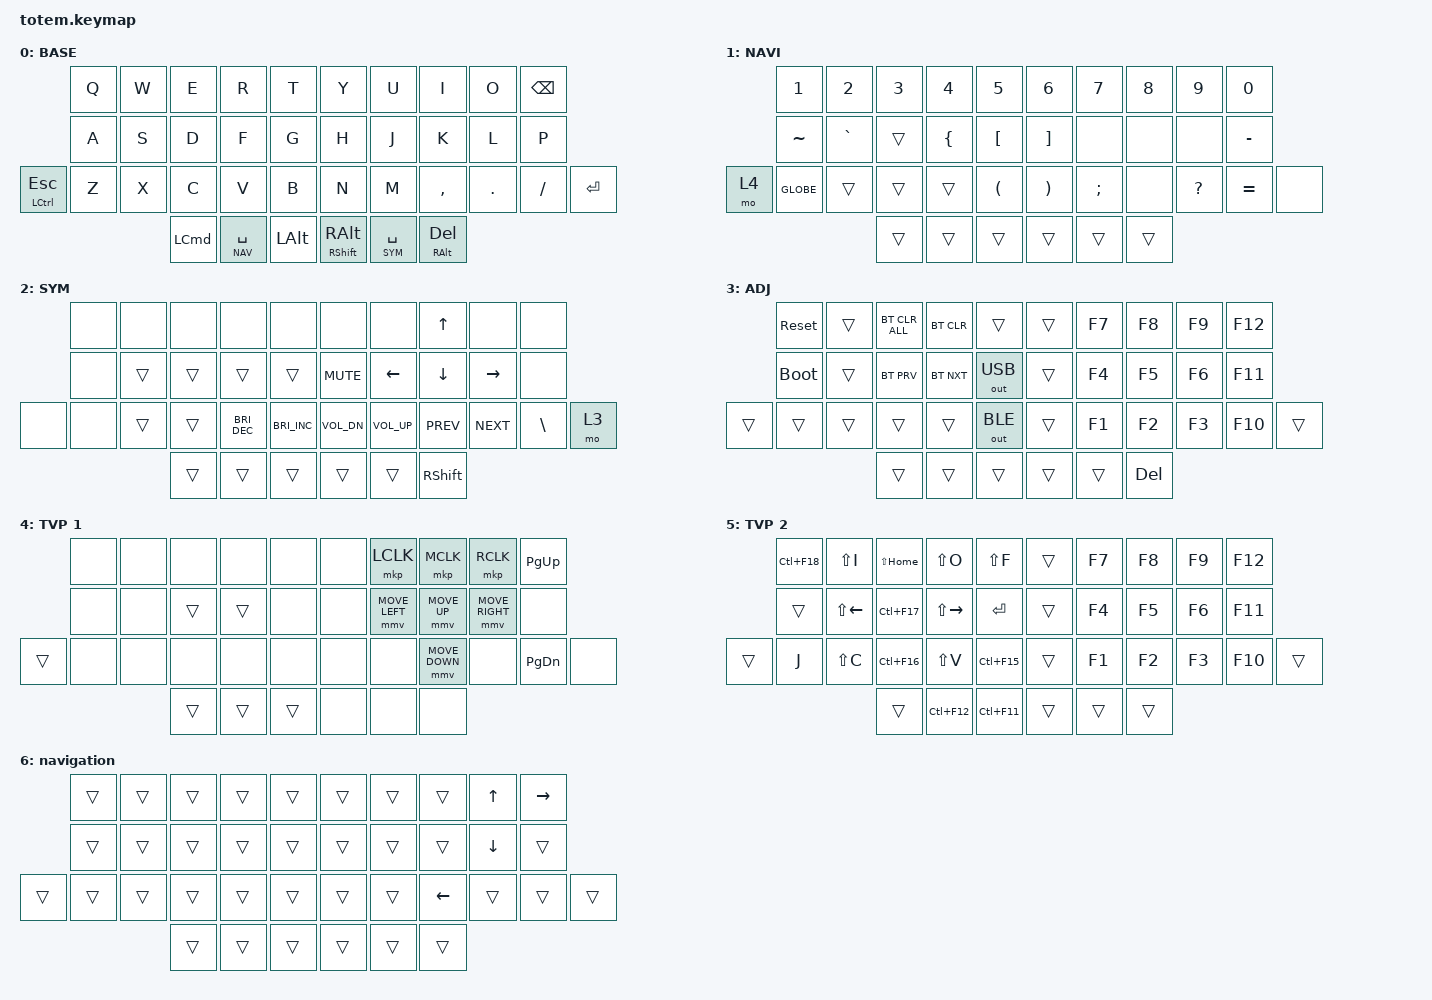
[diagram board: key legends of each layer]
//
//                                                        ▀▀▀▀▀     ▀▀▀▀▀          ▀▀█▀▀
//                                                        ▄▀▀▀▄  ▄  ▄▀▀▀▄  ▄  ▄▀▀▀▄  █  ▄▀▀▀▄
//                                                        █   █  █  █   █  █  █   █  █  █   █
//                                                         ▀▀▀   █   ▀▀▀   █   ▀▀▀   ▀   ▀▀▀
//                                                               █      ▄▄▄█▄▄▄    █   █  
//                                                               ▀      █  █  █     █▄█
//                                                             ▀▀▀▀▀    █  █  █      ▀
//                                                                      ▀  ▀  ▀
//
// ▄▄▄▄▄▄▄▄▄▄▄▄▄▄▄▄▄▄▄▄▄▄▄▄▄▄▄▄▄▄▄▄▄▄▄▄▄▄▄▄▄▄▄▄▄▄▄▄▄▄▄▄▄▄▄▄▄▄▄▄▄▄▄▄▄▄▄▄▄▄▄▄▄▄▄▄▄▄▄▄▄▄▄▄▄▄▄▄▄▄▄▄▄▄▄▄▄▄▄▄▄▄▄▄▄▄▄▄▄▄▄▄▄▄▄▄▄▄▄▄▄▄▄▄▄▄▄▄▄▄▄▄▄▄▄▄▄▄▄▄▄▄▄▄▄▄▄▄▄

#include <behaviors.dtsi>
#include <dt-bindings/zmk/bt.h>
#include <dt-bindings/zmk/keys.h>
#include <dt-bindings/zmk/outputs.h>
#include <dt-bindings/zmk/pointing.h>

#define BASE 0
#define NAV  1
#define SYM  2
#define ADJ  3
#define TVP1 4
#define TVP2 5

&mt {
    quick-tap-ms = <150>;
    global-quick-tap;
    flavor = "tap-preferred";
    tapping-term-ms = <170>;
};

/ {
    combos {
        compatible = "zmk,combos";

        combo_esc {
            timeout-ms = <60>;
            key-positions = <11 12>;
            bindings = <&kp TAB>;
            require-prior-idle-ms = <120>;
        };

        dash {
            bindings = <&kp MINUS>;
            key-positions = <9 8>;
            timeout-ms = <70>;
        };

        tilde_combo {
            bindings = <&kp TILDE>;
            key-positions = <0 1>;
            timeout-ms = <60>;
            require-prior-idle-ms = <100>;
        };

        Shift+tab {
            bindings = <&kp LS(TAB)>;
            key-positions = <12 13>;
        };

        Left-shift {
            bindings = <&kp LEFT_SHIFT>;
            key-positions = <20 34>;
        };

        ctrl+1 {
            bindings = <&kp LC(NUMBER_1)>;
            key-positions = <20 0>;
        };

        ctrl+2 {
            bindings = <&kp LC(NUMBER_2)>;
            key-positions = <20 1>;
        };

        ctrl+3 {
            bindings = <&kp LC(NUMBER_3)>;
            key-positions = <20 2>;
        };

        ctrl+4 {
            bindings = <&kp LC(NUMBER_4)>;
            key-positions = <20 3>;
        };

        ctrl+5 {
            bindings = <&kp LC(NUMBER_5)>;
            key-positions = <20 4>;
        };

        ctrl-sh-1 {
            bindings = <&kp LC(LS(NUMBER_1))>;
            key-positions = <20 0 34>;
        };

        ctrl-sh-2 {
            bindings = <&kp LC(LS(NUMBER_2))>;
            key-positions = <20 1 34>;
        };

        ctrl-sh-3 {
            bindings = <&kp LC(LS(NUMBER_3))>;
            key-positions = <20 2 34>;
        };

        ctrl-sh-4 {
            bindings = <&kp LC(LS(NUMBER_4))>;
            key-positions = <20 3 34>;
        };

        ctrl-sh-5 {
            bindings = <&kp LC(LS(NUMBER_5))>;
            key-positions = <20 4 34>;
        };

        ctl.cmd.1 {
            bindings = <&kp LC(LG(NUMBER_1))>;
            key-positions = <20 0 32>;
        };

        ctrl.cmd.2 {
            bindings = <&kp LC(LG(NUMBER_2))>;
            key-positions = <20 32 1>;
        };

        ctrl.cmd.3 {
            bindings = <&kp LC(LG(NUMBER_3))>;
            key-positions = <20 32 2>;
        };

        ctrl.cmd.4 {
            bindings = <&kp LC(LG(NUMBER_4))>;
            key-positions = <20 32 3>;
        };

        ctrl.cmd.5 {
            bindings = <&kp LC(LG(NUMBER_5))>;
            key-positions = <20 32 4>;
        };

        tmp.screenshot.mac {
            bindings = <&kp LG(LS(NUMBER_4))>;
            key-positions = <32 3 11>;
        };

        save.screenshot.mac {
            bindings = <&kp LG(LS(LA(NUMBER_4)))>;
            key-positions = <32 3 11 12>;
        };

        mac.copy {
            bindings = <&kp LG(C)>;
            key-positions = <32 24>;
        };

        mac.paste {
            bindings = <&kp LG(V)>;
            key-positions = <32 25>;
        };
    };

    behaviors {
        mt_left: mt_left {
            compatible = "zmk,behavior-hold-tap";
            label = "MT_LEFT";
            bindings = <&kp>, <&kp>;

            #binding-cells = <2>;
            tapping-term-ms = <400>;
            quick-tap-ms = <170>;
            flavor = "balanced";
            hold-trigger-key-positions = <26 27 16 15 5 6 7 5 6 7 8 9 15 16 17 18 19 26 27 28 29 31 5 6 7 8 9 15 16 17 18 19 26 27 28 29 30 31 35 36 37 32 33 34>;
            require-prior-idle-ms = <50>;
            hold-trigger-on-release;
        };

        mt_right: mt_right {
            compatible = "zmk,behavior-hold-tap";
            label = "MT_RIGHT";
            bindings = <&kp>, <&kp>;

            #binding-cells = <2>;
            tapping-term-ms = <400>;
            quick-tap-ms = <170>;
            flavor = "balanced";
            require-prior-idle-ms = <50>;
            hold-trigger-on-release;
            hold-trigger-key-positions = <0 1 4 10 11 12 13 14 20 21 22 23 24 25 2 35 36 37 3 32 33 34>;
        };

        mt_thumb: mt_thumb {
            compatible = "zmk,behavior-hold-tap";
            label = "MT_THUMB";
            bindings = <&kp>, <&kp>;

            #binding-cells = <2>;
            quick-tap-ms = <220>;
            flavor = "balanced";
            tapping-term-ms = <100>;
            require-prior-idle-ms = <0>;
        };

        mt_shift_left: mt_shift_left {
            compatible = "zmk,behavior-hold-tap";
            label = "MT_SHIFT_LEFT";
            bindings = <&kp>, <&kp>;

            #binding-cells = <2>;
            tapping-term-ms = <175>;
            quick-tap-ms = <175>;
            flavor = "tap-preferred";
            hold-trigger-key-positions = <19 26 27 29 30 31 36 37 35 36 32 33 34 5 6 7 8 9 15 16 17 18 19 26 27 28 29 31>;
            require-prior-idle-ms = <20>;
        };

        mt_shift_right: mt_shift_right {
            compatible = "zmk,behavior-hold-tap";
            label = "MT_SHIFT_RIGHT";
            bindings = <&kp>, <&kp>;

            #binding-cells = <2>;
            tapping-term-ms = <175>;
            quick-tap-ms = <175>;
            flavor = "tap-preferred";
            hold-trigger-key-positions = <0 1 2 3 4 10 11 12 13 14 20 21 22 23 24 25 32 33 34 35 36 37>;
            require-prior-idle-ms = <20>;
        };

        hold_sticky: hold_sticky {
            compatible = "zmk,behavior-hold-tap";
            label = "HOLD_STICKY";
            bindings = <&kp>, <&sk>;

            #binding-cells = <2>;
            flavor = "hold-preferred";
            tapping-term-ms = <150>;
            quick-tap-ms = <220>;
        };

        mt_all: mt_all {
            compatible = "zmk,behavior-hold-tap";
            label = "MT_ALL";
            bindings = <&kp>, <&kp>;

            #binding-cells = <2>;
            tapping-term-ms = <175>;
            quick-tap-ms = <175>;
            flavor = "balanced";
            require-prior-idle-ms = <35>;
            hold-trigger-on-release;
        };

        copyMAC: copyMAC {
            compatible = "zmk,behavior-tap-dance";
            label = "COPYMAC";
            #binding-cells = <0>;
            bindings = <&kp C>, <&kp LG(C)>;
        };
    };

    keymap {
        compatible = "zmk,keymap";

        // ▄▄▄▄▄▄▄▄▄▄▄▄▄▄▄▄▄▄▄▄▄▄▄▄▄▄▄▄▄▄▄▄▄▄▄▄▄▄▄▄▄▄▄▄▄▄▄▄▄▄▄▄▄▄▄▄▄▄▄▄▄▄▄▄▄▄▄▄▄▄▄▄▄▄▄▄▄▄▄▄▄▄▄▄▄▄▄▄▄▄▄▄▄▄▄▄▄▄▄▄▄▄▄▄▄▄▄▄▄▄▄▄▄▄▄▄▄▄▄▄▄▄▄▄▄▄▄▄▄▄▄▄▄▄▄▄▄▄▄▄▄▄▄▄▄▄▄▄▄

        base_layer {
            // ┏━━━━━━━━━━━━━━━━━━━━━━━━━━━━━━━━━━━━━━━┓

            label = "BASE";

            // ┗━━━━━━━━━━━━━━━━━━━━━━━━━━━━━━━━━━━━━━━┛
            //             ┏━━━━━━━━━━━┳━━━━━━━━━━━┳━━━━━━━━━━━┳━━━━━━━━━━━┳━━━━━━━━━━━┓   ┏━━━━━━━━━━━┳━━━━━━━━━━━┳━━━━━━━━━━━┳━━━━━━━━━━━┳━━━━━━━━━━━┓
            //             ┃     Q     ┃     W     ┃     F     ┃     P     ┃     G     ┃   ┃     J     ┃     L     ┃     U     ┃     Y     ┃     ;     ┃
            //             ┣━━━━━━━━━━━╋━━━━━━━━━━━╋━━━━━━━━━━━╋━━━━━━━━━━━╋━━━━━━━━━━━┫   ┣━━━━━━━━━━━╋━━━━━━━━━━━╋━━━━━━━━━━━╋━━━━━━━━━━━╋━━━━━━━━━━━┫
            //             ┃     A     ┃     R     ┃     S     ┃     T     ┃     D     ┃   ┃     H     ┃     N     ┃     E     ┃     I     ┃     O     ┃
            // ┏━━━━━━━━━━━╋━━━━━━━━━━━╋━━━━━━━━━━━╋━━━━━━━━━━━╋━━━━━━━━━━━╋━━━━━━━━━━━┫   ┣━━━━━━━━━━━╋━━━━━━━━━━━╋━━━━━━━━━━━╋━━━━━━━━━━━╋━━━━━━━━━━━╋━━━━━━━━━━━┓
            // ┃     Q     ┃     Z     ┃     X     ┃     C     ┃     V     ┃     B     ┃   ┃     K     ┃     M     ┃     ,     ┃     .     ┃     /     ┃     \     ┃
            // ┗━━━━━━━━━━━┻━━━━━━━━━━━┻━━━━━━━━━━━╋━━━━━━━━━━━╋━━━━━━━━━━━╋━━━━━━━━━━━┫   ┣━━━━━━━━━━━╋━━━━━━━━━━━╋━━━━━━━━━━━╋━━━━━━━━━━━┻━━━━━━━━━━━┻━━━━━━━━━━━┛
            //                                     ┃    DEL    ┃    TAB    ┃    SPC    ┃   ┃   ENTER   ┃           ┃   BSPC    ┃
            //                                     ┗━━━━━━━━━━━┻━━━━━━━━━━━┻━━━━━━━━━━━┛   ┗━━━━━━━━━━━┻━━━━━━━━━━━┻━━━━━━━━━━━┛

            bindings = <
                             &kp Q  &kp W  &kp E             &kp R          &kp T           &kp Y                          &kp U          &kp I                     &kp O    &kp BACKSPACE
                             &kp A  &kp S  &kp D             &kp F          &kp G           &kp H                          &kp J          &kp K                     &kp L    &kp P
&mt_all LEFT_CONTROL ESCAPE  &kp Z  &kp X  &kp C             &kp V          &kp B           &kp N                          &kp M          &kp COMMA                 &kp DOT  &kp SLASH      &kp ENTER
                                           &kp LEFT_COMMAND  &lt NAV SPACE  &kp LEFT_ALT    &mt_all RIGHT_SHIFT RIGHT_ALT  &lt SYM SPACE  &mt_all RIGHT_ALT DELETE
            >;
        };

        // ▄▄▄▄▄▄▄▄▄▄▄▄▄▄▄▄▄▄▄▄▄▄▄▄▄▄▄▄▄▄▄▄▄▄▄▄▄▄▄▄▄▄▄▄▄▄▄▄▄▄▄▄▄▄▄▄▄▄▄▄▄▄▄▄▄▄▄▄▄▄▄▄▄▄▄▄▄▄▄▄▄▄▄▄▄▄▄▄▄▄▄▄▄▄▄▄▄▄▄▄▄▄▄▄▄▄▄▄▄▄▄▄▄▄▄▄▄▄▄▄▄▄▄▄▄▄▄▄▄▄▄▄▄▄▄▄▄▄▄▄▄▄▄▄▄▄▄▄▄

        nav_layer {
            // ┏━━━━━━━━━━━━━━━━━━━━━━━━━━━━━━━━━━━━━━━┓

            label = "NAVI";

            // ┗━━━━━━━━━━━━━━━━━━━━━━━━━━━━━━━━━━━━━━━┛
            //             ┏━━━━━━━━━━━┳━━━━━━━━━━━┳━━━━━━━━━━━┳━━━━━━━━━━━┳━━━━━━━━━━━┓   ┏━━━━━━━━━━━┳━━━━━━━━━━━┳━━━━━━━━━━━┳━━━━━━━━━━━┳━━━━━━━━━━━┓
            //             ┃           ┃           ┃     UP    ┃           ┃     {     ┃   ┃     }     ┃     7     ┃     8     ┃     9     ┃     +     ┃
            //             ┣━━━━━━━━━━━╋━━━━━━━━━━━╋━━━━━━━━━━━╋━━━━━━━━━━━╋━━━━━━━━━━━┫   ┣━━━━━━━━━━━╋━━━━━━━━━━━╋━━━━━━━━━━━╋━━━━━━━━━━━╋━━━━━━━━━━━┫
            //             ┃   SHIFT   ┃   LEFT    ┃    DOWN   ┃   RIGHT   ┃     [     ┃   ┃     ]     ┃     4     ┃     5     ┃     6     ┃     -     ┃
            // ┏━━━━━━━━━━━╋━━━━━━━━━━━╋━━━━━━━━━━━╋━━━━━━━━━━━╋━━━━━━━━━━━╋━━━━━━━━━━━┫   ┣━━━━━━━━━━━╋━━━━━━━━━━━╋━━━━━━━━━━━╋━━━━━━━━━━━╋━━━━━━━━━━━╋━━━━━━━━━━━┓
            // ┃           ┃           ┃   P UP    ┃  C LOCK   ┃  P DOWN   ┃     (     ┃   ┃     )     ┃     1     ┃     2     ┃     3     ┃     *     ┃           ┃
            // ┗━━━━━━━━━━━┻━━━━━━━━━━━┻━━━━━━━━━━━╋━━━━━━━━━━━╋━━━━━━━━━━━╋━━━━━━━━━━━┫   ┣━━━━━━━━━━━╋━━━━━━━━━━━╋━━━━━━━━━━━╋━━━━━━━━━━━┻━━━━━━━━━━━┻━━━━━━━━━━━┛
            //                                     ┃           ┃    TAB    ┃    SPC    ┃   ┃    DEL    ┃     0     ┃           ┃
            //                                     ┗━━━━━━━━━━━┻━━━━━━━━━━━┻━━━━━━━━━━━┛   ┗━━━━━━━━━━━┻━━━━━━━━━━━┻━━━━━━━━━━━┛

            bindings = <
       &kp NUMBER_1  &kp NUMBER_2  &kp NUMBER_3  &kp NUMBER_4    &kp NUMBER_5    &kp NUMBER_6  &kp N7         &kp N8  &kp N9        &kp NUMBER_0
       &kp TILDE     &kp GRAVE     &trans        &kp LEFT_BRACE  &kp LBKT        &kp RBKT      &none          &none   &none         &kp MINUS
&mo 4  &kp GLOBE     &trans        &trans        &trans          &kp LPAR        &kp RPAR      &kp SEMICOLON  &none   &kp QUESTION  &kp EQUAL     &none
                                   &trans        &trans          &trans          &trans        &trans         &trans
            >;
        };

        // ▄▄▄▄▄▄▄▄▄▄▄▄▄▄▄▄▄▄▄▄▄▄▄▄▄▄▄▄▄▄▄▄▄▄▄▄▄▄▄▄▄▄▄▄▄▄▄▄▄▄▄▄▄▄▄▄▄▄▄▄▄▄▄▄▄▄▄▄▄▄▄▄▄▄▄▄▄▄▄▄▄▄▄▄▄▄▄▄▄▄▄▄▄▄▄▄▄▄▄▄▄▄▄▄▄▄▄▄▄▄▄▄▄▄▄▄▄▄▄▄▄▄▄▄▄▄▄▄▄▄▄▄▄▄▄▄▄▄▄▄▄▄▄▄▄▄▄▄▄

        sim_layer {
            // ┏━━━━━━━━━━━━━━━━━━━━━━━━━━━━━━━━━━━━━━━┓

            label = "SYM";

            // ┗━━━━━━━━━━━━━━━━━━━━━━━━━━━━━━━━━━━━━━━┛
            //             ┏━━━━━━━━━━━┳━━━━━━━━━━━┳━━━━━━━━━━━┳━━━━━━━━━━━┳━━━━━━━━━━━┓   ┏━━━━━━━━━━━┳━━━━━━━━━━━┳━━━━━━━━━━━┳━━━━━━━━━━━┳━━━━━━━━━━━┓
            //             ┃     !     ┃     @     ┃     #     ┃     $     ┃     %     ┃   ┃     ˆ     ┃     &     ┃     Ü     ┃     '     ┃     "     ┃
            //             ┣━━━━━━━━━━━╋━━━━━━━━━━━╋━━━━━━━━━━━╋━━━━━━━━━━━╋━━━━━━━━━━━┫   ┣━━━━━━━━━━━╋━━━━━━━━━━━╋━━━━━━━━━━━╋━━━━━━━━━━━╋━━━━━━━━━━━┫
            //             ┃     Ä     ┃           ┃    SZ     ┃           ┃           ┃   ┃   MUTE    ┃   YEN     ┃   EURO    ┃  POUND    ┃     Ö     ┃
            // ┏━━━━━━━━━━━╋━━━━━━━━━━━╋━━━━━━━━━━━╋━━━━━━━━━━━╋━━━━━━━━━━━╋━━━━━━━━━━━┫   ┣━━━━━━━━━━━╋━━━━━━━━━━━╋━━━━━━━━━━━╋━━━━━━━━━━━╋━━━━━━━━━━━╋━━━━━━━━━━━┓
            // ┃           ┃  EMAIL1   ┃  EMAIL2   ┃           ┃           ┃           ┃   ┃   VOL-    ┃   VOL+    ┃   LAST    ┃   NEXT    ┃     \     ┃           ┃
            // ┗━━━━━━━━━━━┻━━━━━━━━━━━┻━━━━━━━━━━━╋━━━━━━━━━━━╋━━━━━━━━━━━╋━━━━━━━━━━━┫   ┣━━━━━━━━━━━╋━━━━━━━━━━━╋━━━━━━━━━━━╋━━━━━━━━━━━┻━━━━━━━━━━━┻━━━━━━━━━━━┛
            //                                     ┃           ┃    GIF    ┃    ADJ    ┃   ┃           ┃           ┃           ┃
            //                                     ┗━━━━━━━━━━━┻━━━━━━━━━━━┻━━━━━━━━━━━┛   ┗━━━━━━━━━━━┻━━━━━━━━━━━┻━━━━━━━━━━━┛

            bindings = <
       &none  &none   &none   &none          &none                   &none         &none           &kp UP_ARROW     &none            &none
       &none  &trans  &trans  &trans         &trans                  &kp C_MUTE    &kp LEFT_ARROW  &kp DOWN         &kp RIGHT_ARROW  &none
&none  &none  &trans  &trans  &kp C_BRI_DEC  &kp C_BRIGHTNESS_INC    &kp C_VOL_DN  &kp C_VOL_UP    &kp C_PREV       &kp C_NEXT       &kp BSLH  &mo 3
                      &trans  &trans         &trans                  &trans        &trans          &kp RIGHT_SHIFT
            >;
        };

        // ▄▄▄▄▄▄▄▄▄▄▄▄▄▄▄▄▄▄▄▄▄▄▄▄▄▄▄▄▄▄▄▄▄▄▄▄▄▄▄▄▄▄▄▄▄▄▄▄▄▄▄▄▄▄▄▄▄▄▄▄▄▄▄▄▄▄▄▄▄▄▄▄▄▄▄▄▄▄▄▄▄▄▄▄▄▄▄▄▄▄▄▄▄▄▄▄▄▄▄▄▄▄▄▄▄▄▄▄▄▄▄▄▄▄▄▄▄▄▄▄▄▄▄▄▄▄▄▄▄▄▄▄▄▄▄▄▄▄▄▄▄▄▄▄▄▄▄▄▄

        adjust_layer {
            // ┏━━━━━━━━━━━━━━━━━━━━━━━━━━━━━━━━━━━━━━━┓

            label = "ADJ";

            // ┗━━━━━━━━━━━━━━━━━━━━━━━━━━━━━━━━━━━━━━━┛
            //             ┏━━━━━━━━━━━┳━━━━━━━━━━━┳━━━━━━━━━━━┳━━━━━━━━━━━┳━━━━━━━━━━━┓   ┏━━━━━━━━━━━┳━━━━━━━━━━━┳━━━━━━━━━━━┳━━━━━━━━━━━┳━━━━━━━━━━━┓
            //             ┃   RESET   ┃ BT CLEAR  ┃  OUT TOG  ┃           ┃           ┃   ┃           ┃    F7     ┃    F8     ┃    F9     ┃    F12    ┃
            //             ┣━━━━━━━━━━━╋━━━━━━━━━━━╋━━━━━━━━━━━╋━━━━━━━━━━━╋━━━━━━━━━━━┫   ┣━━━━━━━━━━━╋━━━━━━━━━━━╋━━━━━━━━━━━╋━━━━━━━━━━━╋━━━━━━━━━━━┫
            //             ┃ BOOTLOAD  ┃ BT NEXT   ┃           ┃           ┃           ┃   ┃           ┃    F4     ┃    F5     ┃    F6     ┃    F11    ┃
            // ┏━━━━━━━━━━━╋━━━━━━━━━━━╋━━━━━━━━━━━╋━━━━━━━━━━━╋━━━━━━━━━━━╋━━━━━━━━━━━┫   ┣━━━━━━━━━━━╋━━━━━━━━━━━╋━━━━━━━━━━━╋━━━━━━━━━━━╋━━━━━━━━━━━╋━━━━━━━━━━━┓
            // ┃           ┃           ┃ BT PREV   ┃           ┃           ┃           ┃   ┃           ┃    F1     ┃    F2     ┃    F3     ┃    F10    ┃           ┃
            // ┗━━━━━━━━━━━┻━━━━━━━━━━━┻━━━━━━━━━━━╋━━━━━━━━━━━╋━━━━━━━━━━━╋━━━━━━━━━━━┫   ┣━━━━━━━━━━━╋━━━━━━━━━━━╋━━━━━━━━━━━╋━━━━━━━━━━━┻━━━━━━━━━━━┻━━━━━━━━━━━┛
            //                                     ┃           ┃           ┃           ┃   ┃           ┃           ┃           ┃
            //                                     ┗━━━━━━━━━━━┻━━━━━━━━━━━┻━━━━━━━━━━━┛   ┗━━━━━━━━━━━┻━━━━━━━━━━━┻━━━━━━━━━━━┛

            bindings = <
        &sys_reset   &trans  &bt BT_CLR_ALL  &bt BT_CLR  &trans          &trans  &kp F7  &kp F8      &kp F9  &kp F12
        &bootloader  &trans  &bt BT_PRV      &bt BT_NXT  &out OUT_USB    &trans  &kp F4  &kp F5      &kp F6  &kp F11
&trans  &trans       &trans  &trans          &trans      &out OUT_BLE    &trans  &kp F1  &kp F2      &kp F3  &kp F10  &trans
                             &trans          &trans      &trans          &trans  &trans  &kp DELETE
            >;
        };

        // ▄▄▄▄▄▄▄▄▄▄▄▄▄▄▄▄▄▄▄▄▄▄▄▄▄▄▄▄▄▄▄▄▄▄▄▄▄▄▄▄▄▄▄▄▄▄▄▄▄▄▄▄▄▄▄▄▄▄▄▄▄▄▄▄▄▄▄▄▄▄▄▄▄▄▄▄▄▄▄▄▄▄▄▄▄▄▄▄▄▄▄▄▄▄▄▄▄▄▄▄▄▄▄▄▄▄▄▄▄▄▄▄▄▄▄▄▄▄▄▄▄▄▄▄▄▄▄▄▄▄▄▄▄▄▄▄▄▄▄▄▄▄▄▄▄▄▄▄▄

        tvp1_layer {
            // ┏━━━━━━━━━━━━━━━━━━━━━━━━━━━━━━━━━━━━━━━┓

            label = "TVP 1";

            // ┗━━━━━━━━━━━━━━━━━━━━━━━━━━━━━━━━━━━━━━━┛
            //             ┏━━━━━━━━━━━┳━━━━━━━━━━━┳━━━━━━━━━━━┳━━━━━━━━━━━┳━━━━━━━━━━━┓   ┏━━━━━━━━━━━┳━━━━━━━━━━━┳━━━━━━━━━━━┳━━━━━━━━━━━┳━━━━━━━━━━━┓
            //             ┃ NEXT FILE ┃ MARK IN   ┃ ROTATE    ┃ MARK OUT  ┃ SHOW SNAP ┃   ┃           ┃           ┃           ┃           ┃           ┃
            //             ┣━━━━━━━━━━━╋━━━━━━━━━━━╋━━━━━━━━━━━╋━━━━━━━━━━━╋━━━━━━━━━━━┫   ┣━━━━━━━━━━━╋━━━━━━━━━━━╋━━━━━━━━━━━╋━━━━━━━━━━━╋━━━━━━━━━━━┫
            //             ┃ TVP II    ┃ LEFT      ┃ PAN       ┃ RIGHT     ┃ PLAY/FLIP ┃   ┃           ┃           ┃           ┃           ┃           ┃
            // ┏━━━━━━━━━━━╋━━━━━━━━━━━╋━━━━━━━━━━━╋━━━━━━━━━━━╋━━━━━━━━━━━╋━━━━━━━━━━━┫   ┣━━━━━━━━━━━╋━━━━━━━━━━━╋━━━━━━━━━━━╋━━━━━━━━━━━╋━━━━━━━━━━━╋━━━━━━━━━━━┓
            // ┃ FULLSCR   ┃ SHIFT     ┃ COPY      ┃ DELETE    ┃ PASTE     ┃ IMG MARK  ┃   ┃           ┃           ┃           ┃           ┃           ┃           ┃
            // ┗━━━━━━━━━━━┻━━━━━━━━━━━┻━━━━━━━━━━━╋━━━━━━━━━━━╋━━━━━━━━━━━╋━━━━━━━━━━━┫   ┣━━━━━━━━━━━╋━━━━━━━━━━━╋━━━━━━━━━━━╋━━━━━━━━━━━┻━━━━━━━━━━━┻━━━━━━━━━━━┛
            //                                     ┃           ┃ UNDO/SAVE ┃  SEL/MOV  ┃   ┃           ┃           ┃           ┃
            //                                     ┗━━━━━━━━━━━┻━━━━━━━━━━━┻━━━━━━━━━━━┛   ┗━━━━━━━━━━━┻━━━━━━━━━━━┻━━━━━━━━━━━┛

            bindings = <
        &none  &none  &none   &none   &none     &none  &mkp LCLK       &mkp MCLK       &mkp RCLK        &kp PAGE_UP
        &none  &none  &trans  &trans  &none     &none  &mmv MOVE_LEFT  &mmv MOVE_UP    &mmv MOVE_RIGHT  &none
&trans  &none  &none  &none   &none   &none     &none  &none           &mmv MOVE_DOWN  &none            &kp PAGE_DOWN  &none
                      &trans  &trans  &trans    &none  &none           &none
            >;
        };

        // ▄▄▄▄▄▄▄▄▄▄▄▄▄▄▄▄▄▄▄▄▄▄▄▄▄▄▄▄▄▄▄▄▄▄▄▄▄▄▄▄▄▄▄▄▄▄▄▄▄▄▄▄▄▄▄▄▄▄▄▄▄▄▄▄▄▄▄▄▄▄▄▄▄▄▄▄▄▄▄▄▄▄▄▄▄▄▄▄▄▄▄▄▄▄▄▄▄▄▄▄▄▄▄▄▄▄▄▄▄▄▄▄▄▄▄▄▄▄▄▄▄▄▄▄▄▄▄▄▄▄▄▄▄▄▄▄▄▄▄▄▄▄▄▄▄▄▄▄▄

        tvp2_layer {
            // ┏━━━━━━━━━━━━━━━━━━━━━━━━━━━━━━━━━━━━━━━┓

            label = "TVP 2";

            // ┗━━━━━━━━━━━━━━━━━━━━━━━━━━━━━━━━━━━━━━━┛
            //             ┏━━━━━━━━━━━┳━━━━━━━━━━━┳━━━━━━━━━━━┳━━━━━━━━━━━┳━━━━━━━━━━━┓   ┏━━━━━━━━━━━┳━━━━━━━━━━━┳━━━━━━━━━━━┳━━━━━━━━━━━┳━━━━━━━━━━━┓
            //             ┃ SOLO      ┃ TOGGLE IN ┃ RESET ROT ┃ TOGGLE OUT┃ TAKE SNAP ┃   ┃           ┃           ┃           ┃           ┃           ┃
            //             ┣━━━━━━━━━━━╋━━━━━━━━━━━╋━━━━━━━━━━━╋━━━━━━━━━━━╋━━━━━━━━━━━┫   ┣━━━━━━━━━━━╋━━━━━━━━━━━╋━━━━━━━━━━━╋━━━━━━━━━━━╋━━━━━━━━━━━┫
            //             ┃ ---       ┃ LAST KEY  ┃ NEW KEY   ┃ NEXT KEY  ┃ ENTER     ┃   ┃           ┃           ┃           ┃           ┃           ┃
            // ┏━━━━━━━━━━━╋━━━━━━━━━━━╋━━━━━━━━━━━╋━━━━━━━━━━━╋━━━━━━━━━━━╋━━━━━━━━━━━┫   ┣━━━━━━━━━━━╋━━━━━━━━━━━╋━━━━━━━━━━━╋━━━━━━━━━━━╋━━━━━━━━━━━╋━━━━━━━━━━━┓
            // ┃           ┃ FULLSCR   ┃ CPY2BRUSH ┃ DEL HEAD  ┃ PSTinPLACE┃ BOOK MARK ┃   ┃           ┃           ┃           ┃           ┃           ┃           ┃
            // ┗━━━━━━━━━━━┻━━━━━━━━━━━┻━━━━━━━━━━━╋━━━━━━━━━━━╋━━━━━━━━━━━╋━━━━━━━━━━━┫   ┣━━━━━━━━━━━╋━━━━━━━━━━━╋━━━━━━━━━━━╋━━━━━━━━━━━┻━━━━━━━━━━━┻━━━━━━━━━━━┛
            //                                     ┃           ┃ REDO/SAV1 ┃TRANS/WARP ┃   ┃           ┃           ┃           ┃
            //                                     ┗━━━━━━━━━━━┻━━━━━━━━━━━┻━━━━━━━━━━━┛   ┗━━━━━━━━━━━┻━━━━━━━━━━━┻━━━━━━━━━━━┛

            bindings = <
        &kp LC(F18)  &kp LS(I)     &kp LS(HOME)  &kp LS(O)      &kp LS(F)      &trans  &kp F7  &kp F8  &kp F9  &kp F12
        &trans       &kp LS(LEFT)  &kp LC(F17)   &kp LS(RIGHT)  &kp RET        &trans  &kp F4  &kp F5  &kp F6  &kp F11
&trans  &kp J        &kp LS(C)     &kp LC(F16)   &kp LS(V)      &kp LC(F15)    &trans  &kp F1  &kp F2  &kp F3  &kp F10  &trans
                                   &trans        &kp LC(F12)    &kp LC(F11)    &trans  &trans  &trans
            >;
        };

        navigation {
            bindings = <
        &trans  &trans  &trans  &trans  &trans    &trans  &trans  &trans    &kp UP_ARROW  &kp RIGHT
        &trans  &trans  &trans  &trans  &trans    &trans  &trans  &trans    &kp DOWN      &trans
&trans  &trans  &trans  &trans  &trans  &trans    &trans  &trans  &kp LEFT  &trans        &trans     &trans
                        &trans  &trans  &trans    &trans  &trans  &trans
            >;
        };
    };
};
